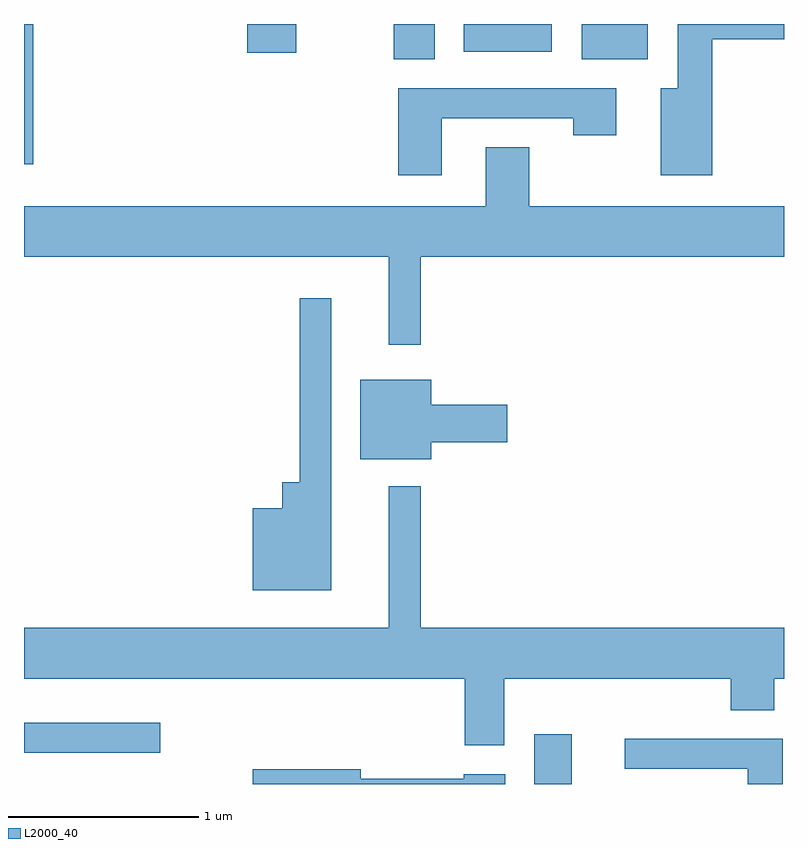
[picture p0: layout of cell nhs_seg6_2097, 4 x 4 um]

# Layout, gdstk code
import gdstk
lib = gdstk.Library(unit=1e-6, precision=1e-09)
def R(c, l, rs):  # rectangles x0, y0, x1, y1
    for r in rs: c.add(gdstk.rectangle(r[:2], r[2:], *l))
def P(c, l, *ps):  # polygons
    for p in ps: c.add(gdstk.Polygon(p, *l))
L2000_40 = (2000, 40)

nhs_seg6_2097 = lib.new_cell('nhs_seg6_2097')
R(nhs_seg6_2097, L2000_40, [(252.296,1536.162,252.494,1536.424), (249.611,1536.326,250.328,1536.484), (249.611,1539.423,249.659,1540.162), (251.556,1539.976,251.774,1540.162), (252.546,1539.976,252.894,1540.162), (250.786,1540.011,251.044,1540.162), (251.926,1540.016,252.389,1540.162)])
P(nhs_seg6_2097, L2000_40, [(253.234,1540.081),(253.611,1540.081),(253.611,1540.162),(253.051,1540.162),(253.051,1539.824),(252.961,1539.824),(252.961,1539.366),(253.234,1539.366)],
  [(251.809,1539.666),(252.501,1539.666),(252.501,1539.576),(252.729,1539.576),(252.729,1539.824),(251.581,1539.824),(251.581,1539.366),(251.809,1539.366)],
  [(251.699,1538.936),(253.611,1538.936),(253.611,1539.204),(252.269,1539.204),(252.269,1539.514),(252.041,1539.514),(252.041,1539.204),(249.611,1539.204),(249.611,1538.936),(251.531,1538.936),(251.531,1538.473),(251.699,1538.473)],
  [(251.229,1538.718),(251.061,1538.718),(251.061,1537.749),(250.971,1537.749),(250.971,1537.614),(250.816,1537.614),(250.816,1537.181),(251.229,1537.181)],
  [(251.754,1537.961),(252.154,1537.961),(252.154,1538.159),(251.754,1538.159),(251.754,1538.289),(251.381,1538.289),(251.381,1537.871),(251.754,1537.871)],
  [(252.139,1536.716),(253.331,1536.716),(253.331,1536.551),(253.559,1536.551),(253.559,1536.716),(253.611,1536.716),(253.611,1536.984),(251.699,1536.984),(251.699,1537.728),(251.531,1537.728),(251.531,1536.984),(249.611,1536.984),(249.611,1536.716),(251.931,1536.716),(251.931,1536.366),(252.139,1536.366)],
  [(253.604,1536.399),(252.773,1536.399),(252.773,1536.241),(253.421,1536.241),(253.421,1536.162),(253.604,1536.162)],
  [(252.144,1536.214),(251.926,1536.214),(251.926,1536.189),(251.384,1536.189),(251.384,1536.239),(250.816,1536.239),(250.816,1536.162),(252.144,1536.162)])

lib.write_gds('nhs_seg6_2097.gds')
